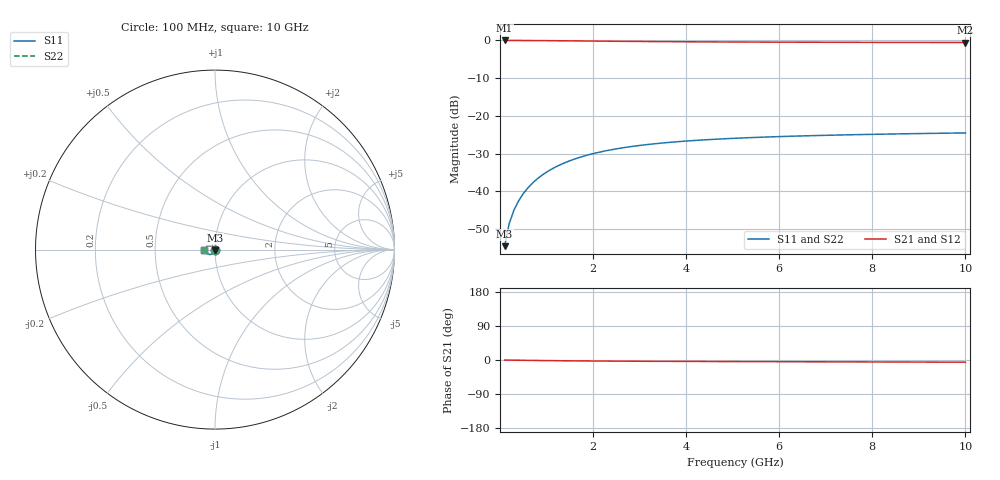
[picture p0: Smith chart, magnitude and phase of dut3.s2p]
! Touchstone file exported from HFSS 2024.1.0
!  File:  C:/UserFiles/LocalFiles/RDL_TSV_Batchsim/temp_TSV1_3_1779367263.aedt
!  Generated:  08:48:07 PM May 21, 2026
!  Design:  TSV1
!  Project:  temp_TSV1_3_1779367263
!  Setup:  Setup1
!  Solution:  Sweep
! Variables:
!  dtsv = 13.84um
!  hbump = 3um
!  htsv = 89.66um
!  lrdl = 252.1521522um
!  p = 40
!  p1 = 59.86um
!  t = 500um
!  trdl = 3um
!  wrdl = 24.89489489um
# GHz S MA R 50.000000
! Terminal data exported
! Port[1] = TSV22_T1
! Port[2] = TSV22_T2
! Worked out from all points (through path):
!   100 points, 100 MHz to 10 GHz, reference 50 ohm
!   highest |S21| = 0.00 dB at 100 MHz (marker M1); lowest = -0.5 dB at 10 GHz (marker M2)
!   lowest |S11| = -54.5 dB at 100 MHz (marker M3), VSWR 1.00, Z = 50 - j0.188 ohm
!   |S11| at or under -10 dB: start of sweep to end of sweep
!   |S22| runs from -54.5 to -24.5 dB; largest |S21 - S12| = 5.7e-15
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0.1  0.001875 -89.3  0.9998 -0.2  0.9998 -0.2  0.001875 -89.3
! Gamma 0 0 0 0
! Port Impedance 50 0 50 0
0.2  0.003747 -92.5  0.9996 -0.3  0.9996 -0.3  0.003747 -92.5
0.3  0.005614 -94.9  0.9993 -0.5  0.9993 -0.5  0.005614 -94.9
0.4  0.007467 -97.2  0.9988 -0.7  0.9988 -0.7  0.007467 -97.2
0.5  0.009299 -99.3  0.9982 -0.8  0.9982 -0.8  0.009299 -99.3
0.6  0.0111 -101.4  0.9975 -1.0  0.9975 -1.0  0.0111 -101.4
0.7  0.01287 -103.4  0.9967 -1.1  0.9967 -1.1  0.01287 -103.4
0.8  0.0146 -105.4  0.9959 -1.3  0.9959 -1.3  0.0146 -105.4
0.9  0.01629 -107.3  0.9949 -1.4  0.9949 -1.4  0.01629 -107.3
1.1  0.01953 -111.1  0.9928 -1.7  0.9928 -1.7  0.01953 -111.1
1.4  0.02401 -116.4  0.9892 -2.0  0.9892 -2.0  0.02401 -116.4
1.6  0.02674 -119.7  0.9867 -2.2  0.9867 -2.2  0.02674 -119.7
1.8  0.02926 -122.9  0.9841 -2.4  0.9841 -2.4  0.02926 -122.9
2.1  0.03266 -127.3  0.9803 -2.7  0.9803 -2.7  0.03266 -127.3
2.5  0.03655 -132.6  0.9755 -3.0  0.9755 -3.0  0.03655 -132.6
2.9  0.03982 -137.3  0.971 -3.2  0.971 -3.2  0.03982 -137.3
3.4  0.04317 -142.5  0.966 -3.5  0.966 -3.5  0.04317 -142.5
4.2  0.04729 -149.5  0.9595 -3.8  0.9595 -3.8  0.04728 -149.5
5.1  0.05065 -156.0  0.9538 -4.1  0.9538 -4.1  0.05065 -156.0
6.7  0.05468 -165.0  0.9469 -4.7  0.9469 -4.7  0.05468 -165.0
8.4  0.05751 -172.6  0.9422 -5.2  0.9422 -5.2  0.05751 -172.6
10  0.05946 -178.5  0.9392 -5.8  0.9392 -5.8  0.05946 -178.5
